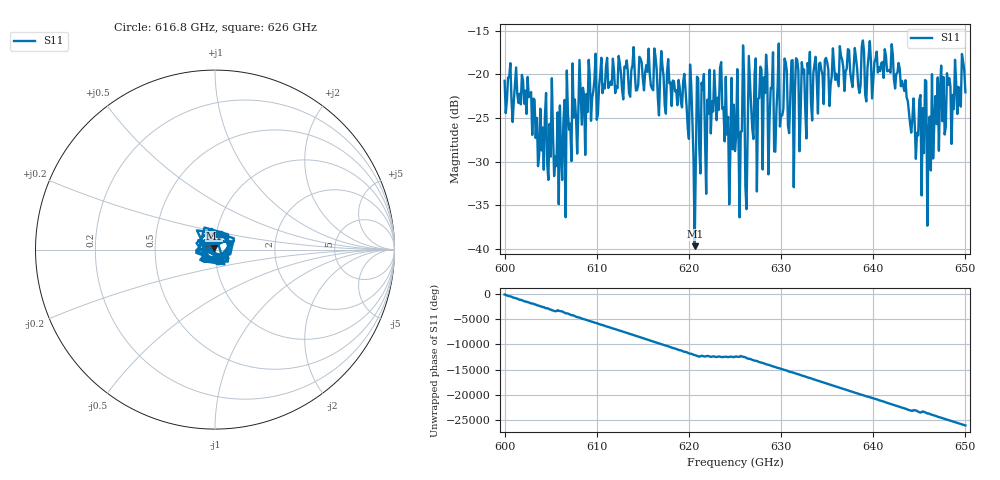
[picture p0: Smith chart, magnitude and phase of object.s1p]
!Created with skrf (http://scikit-rf.org).
# GHz S MA R 50.0
!freq magS11 angS11
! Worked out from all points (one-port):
!   401 points, 600 GHz to 650 GHz, reference 50 ohm
!   lowest |S11| = -39.7 dB at 620.6 GHz (marker M1), VSWR 1.02, Z = 49.5 + j0.886 ohm
!   |S11| at or under -10 dB: start of sweep to end of sweep
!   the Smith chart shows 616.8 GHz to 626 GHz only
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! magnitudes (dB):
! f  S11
! 600 GHz  -20.7
! 602.6 GHz  -22.6
! 603.5 GHz  -25.0
! 605.1 GHz  -20.4
! 605.6 GHz  -30.5
! 606.2 GHz  -32.1
! 606.4 GHz  -25.7
! 606.6 GHz  -36.4
! 608.4 GHz  -25.8
! 612.5 GHz  -18.7
! 618.8 GHz  -23.5
! 620.1 GHz  -18.9
! 620.6 GHz  -39.7
! 621.1 GHz  -28.5
! 623.4 GHz  -19.3
! 624.1 GHz  -26.9
! 625 GHz  -28.8
! 625.2 GHz  -19.4
! 625.9 GHz  -16.7
! 626.4 GHz  -26.9
! 626.6 GHz  -20.9
! 631.2 GHz  -18.4
! 637.5 GHz  -19.7
! 641.9 GHz  -19.8
! 643.8 GHz  -23.1
! 646 GHz  -26.4
! 647.1 GHz  -28.8
! 650 GHz  -22.1
